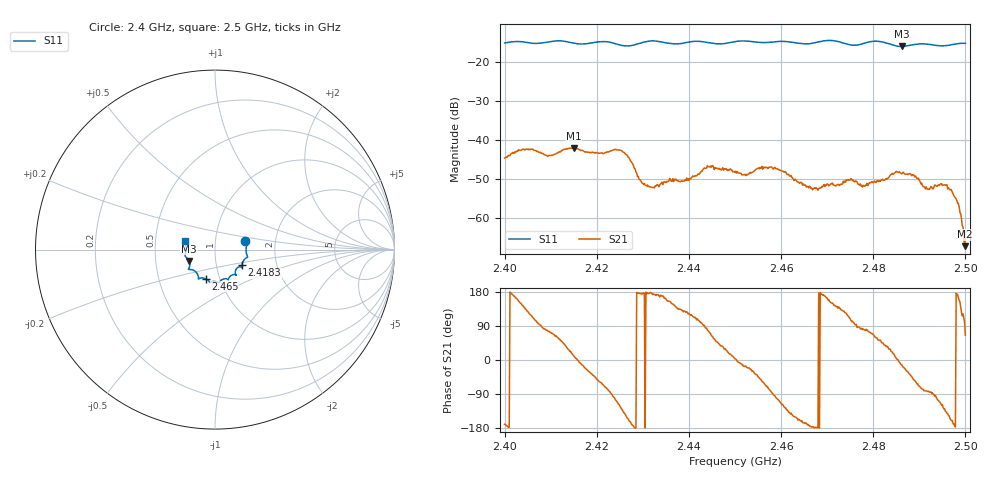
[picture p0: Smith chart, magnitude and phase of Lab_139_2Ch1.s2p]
# Hz S RI R 50
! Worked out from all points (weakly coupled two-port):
!   601 points, 2.4 GHz to 2.5 GHz, reference 50 ohm
!   highest |S21| = -42.00 dB at 2.415 GHz (marker M1); lowest = -67.1 dB at 2.4998 GHz (marker M2)
!   lowest |S11| = -16.0 dB at 2.4862 GHz (marker M3), VSWR 1.37, Z = 37.1 - j4.82 ohm
!   |S11| at or under -10 dB: start of sweep to end of sweep
!   S12 and S22 are empty: the file has one direction only
!   S11 on the Smith chart (normalised r, x): 2.4 GHz: 1.40, +0.13; 2.4183 GHz: 1.33, -0.24; 2.465 GHz: 0.86, -0.29; 2.5 GHz: 0.71, +0.07
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2.4e9  0.1689 0.0459  -0.0058 -0.00106  0 0  0 0
2.4035e9  0.1796 0.0303  -0.0064 0.0037  0 0  0 0
2.409833e9  0.1784 -0.0337  0.00184 0.00612  0 0  0 0
2.415e9  0.1656 -0.0525  0.0078 0.00151  0 0  0 0
2.416667e9  0.1552 -0.0685  0.00724 -0.00143  0 0  0 0
2.418333e9  0.15 -0.0871  0.00603 -0.00359  0 0  0 0
2.425333e9  0.1312 -0.0973  -0.00455 -0.00577  0 0  0 0
2.429667e9  0.1134 -0.1343  -0.00291 0.000289  0 0  0 0
2.433333e9  0.117 -0.1415  -0.00261 0.000347  0 0  0 0
2.440167e9  0.0754 -0.1642  -0.00164 0.00278  0 0  0 0
2.4445e9  0.0653 -0.1632  0.0014 0.00432  0 0  0 0
2.45e9  0.0253 -0.1807  0.00385 0.00019  0 0  0 0
2.458167e9  -0.0191 -0.1791  0.000128 -0.00434  0 0  0 0
2.465e9  -0.0527 -0.162  -0.00256 -0.000664  0 0  0 0
2.466667e9  -0.0713 -0.1576  -0.00243 -0.000115  0 0  0 0
2.483333e9  -0.1422 -0.0959  0.00286 0.00162  0 0  0 0
2.486167e9  -0.1447 -0.0633  0.00362 -0.000783  0 0  0 0
2.491667e9  -0.1667 -0.0299  0.000316 -0.00236  0 0  0 0
2.4965e9  -0.1626 0.022  -0.00199 -0.00127  0 0  0 0
2.4985e9  -0.1675 0.0391  -0.00147 0.00045  0 0  0 0
2.499833e9  -0.1674 0.0461  -7.09e-05 0.000434  0 0  0 0
2.5e9  -0.167 0.0468  0.000224 0.000489  0 0  0 0
